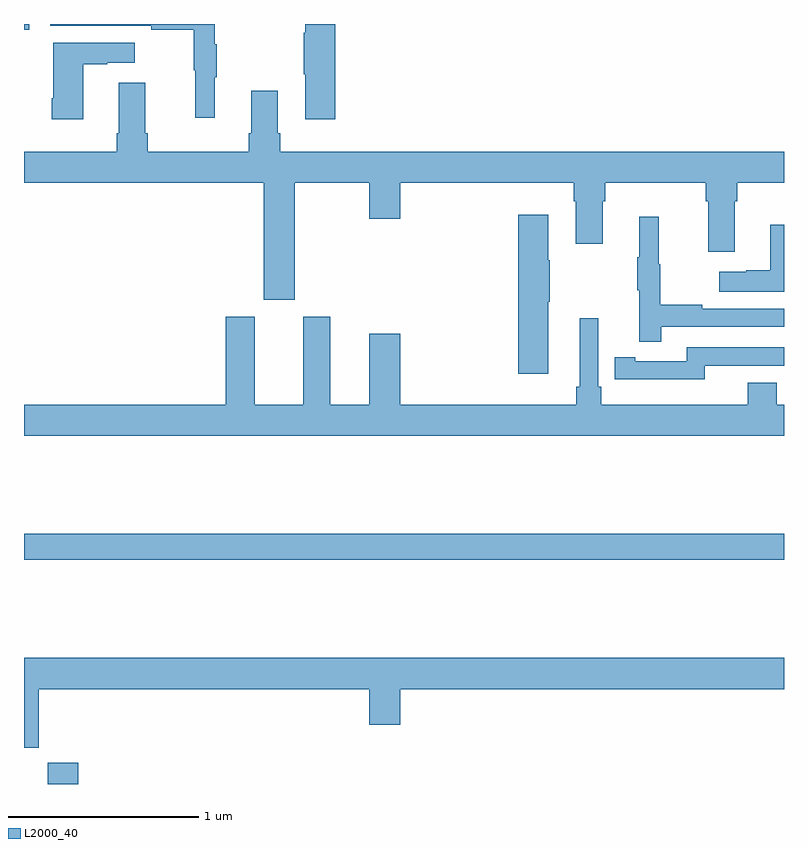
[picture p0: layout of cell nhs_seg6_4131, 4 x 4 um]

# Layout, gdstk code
import gdstk
lib = gdstk.Library(unit=1e-6, precision=1e-09)
def R(c, l, rs):  # rectangles x0, y0, x1, y1
    for r in rs: c.add(gdstk.rectangle(r[:2], r[2:], *l))
def P(c, l, *ps):  # polygons
    for p in ps: c.add(gdstk.Polygon(p, *l))
L2000_40 = (2000, 40)

nhs_seg6_4131 = lib.new_cell('nhs_seg6_4131')
R(nhs_seg6_4131, L2000_40, [(355.126,949.5,355.286,949.612), (355,950.68,359,950.816), (355,953.469,355.027,953.5)])
P(nhs_seg6_4131, L2000_40, [(356.639,953.5),(356.48,953.5),(356.48,953.453),(356.473,953.453),(356.473,953.236),(356.48,953.236),(356.48,952.998),(356.639,952.998)],
  [(356.003,953.219),(356.014,953.219),(356.014,953.393),(356.003,953.393),(356.003,953.5),(355.137,953.5),(355.137,953.49),(355.669,953.49),(355.669,953.47),(355.893,953.47),(355.893,953.256),(355.9,953.256),(355.9,953.007),(356.003,953.007)],
  [(355.312,953.287),(355.439,953.287),(355.439,953.297),(355.582,953.297),(355.582,953.401),(355.154,953.401),(355.154,953.11),(355.147,953.11),(355.147,952.998),(355.312,952.998)],
  [(356.425,952.664),(356.816,952.664),(356.816,952.476),(356.98,952.476),(356.98,952.664),(357.893,952.664),(357.893,952.568),(357.905,952.568),(357.905,952.344),(358.045,952.344),(358.045,952.568),(358.058,952.568),(358.058,952.664),(358.589,952.664),(358.589,952.568),(358.601,952.568),(358.601,952.302),(358.741,952.302),(358.741,952.568),(358.754,952.568),(358.754,952.664),(359,952.664),(359,952.828),(356.348,952.828),(356.348,952.924),(356.335,952.924),(356.335,953.149),(356.195,953.149),(356.195,952.924),(356.183,952.924),(356.183,952.828),(355.652,952.828),(355.652,952.924),(355.639,952.924),(355.639,953.191),(355.499,953.191),(355.499,952.924),(355.487,952.924),(355.487,952.828),(355,952.828),(355,952.664),(356.261,952.664),(356.261,952.05),(356.425,952.05)],
  [(357.76,952.039),(357.768,952.039),(357.768,952.256),(357.76,952.256),(357.76,952.495),(357.602,952.495),(357.602,951.66),(357.76,951.66)],
  [(358.355,951.906),(359,951.906),(359,952.002),(358.571,952.002),(358.571,952.022),(358.348,952.022),(358.348,952.236),(358.34,952.236),(358.34,952.486),(358.238,952.486),(358.238,952.273),(358.227,952.273),(358.227,952.099),(358.238,952.099),(358.238,951.828),(358.355,951.828)],
  [(359,952.444),(358.928,952.444),(358.928,952.205),(358.802,952.205),(358.802,952.195),(358.659,952.195),(358.659,952.091),(359,952.091)],
  [(359,951.496),(358.961,951.496),(358.961,951.613),(358.808,951.613),(358.808,951.496),(358.037,951.496),(358.037,951.592),(358.023,951.592),(358.023,951.952),(357.926,951.952),(357.926,951.592),(357.907,951.592),(357.907,951.496),(356.98,951.496),(356.98,951.871),(356.816,951.871),(356.816,951.496),(356.611,951.496),(356.611,951.958),(356.471,951.958),(356.471,951.496),(356.215,951.496),(356.215,951.958),(356.063,951.958),(356.063,951.496),(355,951.496),(355,951.332),(359,951.332)],
  [(358.584,951.702),(359,951.702),(359,951.798),(358.488,951.798),(358.488,951.726),(358.216,951.726),(358.216,951.746),(358.108,951.746),(358.108,951.63),(358.216,951.63),(358.216,951.629),(358.584,951.629)],
  [(355.078,950),(356.816,950),(356.816,949.812),(356.98,949.812),(356.98,950),(359,950),(359,950.164),(355,950.164),(355,949.691),(355.078,949.691)])

lib.write_gds('nhs_seg6_4131.gds')
